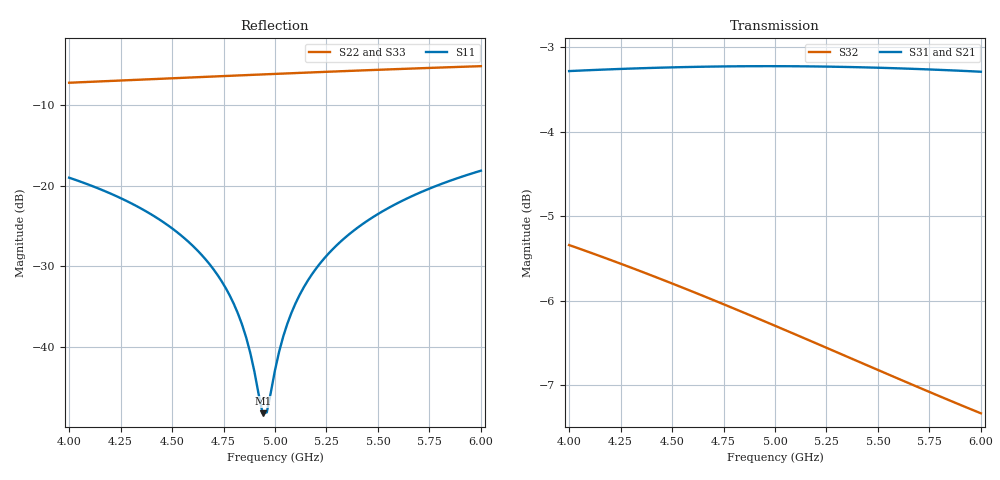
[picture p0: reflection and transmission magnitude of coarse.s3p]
! yapnr rf: divider-osh-m-star, binary design on the optimization grid
! spec sha256 5c8ff818df422873aa88d55bef2dedd6a6ce6afaf8815cf4395bdffaf75e430d
! renormalized to 50 ohm, e^(+jwt) convention
# GHz S RI R 50
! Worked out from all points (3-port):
!   101 points, 4 GHz to 6 GHz, reference 50 ohm
!   strongest paths, dB at 4 GHz, 4.5 GHz, 5 GHz, 5.5 GHz, 6 GHz:
!     S31: -3.3, -3.2, -3.2, -3.2, -3.3
!     S21: -3.3, -3.2, -3.2, -3.2, -3.3
!     S32: -5.3, -5.8, -6.3, -6.8, -7.3
!   lowest |S11| = -48.2 dB at 4.94 GHz (marker M1), VSWR 1.01, Z = 50.4 + j0.103 ohm
!   |S11| at or under -10 dB: start of sweep to end of sweep
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4  -0.0331 0.1068  -0.2275 -0.6465  -0.2275 -0.6465
   -0.2277 -0.6466  0.3186 0.2914  -0.4042 -0.359
   -0.2277 -0.6466  -0.4042 -0.359  0.3186 0.2914
4.4  -0.00835 0.0656  -0.3529 -0.5909  -0.3529 -0.5909
     -0.3531 -0.591  0.399 0.2171  -0.4555 -0.2481
     -0.3531 -0.591  -0.4555 -0.2481  0.399 0.2171
4.68  0.00131 0.0329  -0.4331 -0.5365  -0.4331 -0.5365
      -0.4332 -0.5366  0.4451 0.1527  -0.4733 -0.1693
      -0.4332 -0.5366  -0.4733 -0.1693  0.4451 0.1527
4.84  0.00359 0.0133  -0.4751 -0.5002  -0.4751 -0.5002
      -0.4753 -0.5002  0.4668 0.1121  -0.4774 -0.125
      -0.4753 -0.5002  -0.4774 -0.125  0.4668 0.1121
4.94  0.00377 0.00103  -0.4998 -0.4757  -0.4998 -0.4757
      -0.4999 -0.4757  0.4785 0.0854  -0.4778 -0.098
      -0.4999 -0.4757  -0.4778 -0.098  0.4785 0.0854
4.96  0.00369 -0.00144  -0.5046 -0.4706  -0.5046 -0.4706
      -0.5047 -0.4706  0.4806 0.08  -0.4776 -0.0926
      -0.5047 -0.4706  -0.4776 -0.0926  0.4806 0.08
5  0.00341 -0.00637  -0.5139 -0.4603  -0.5139 -0.4603
   -0.5141 -0.4604  0.4847 0.069  -0.4772 -0.082
   -0.5141 -0.4604  -0.4772 -0.082  0.4847 0.069
5.12  0.00162 -0.0211  -0.5407 -0.4283  -0.5407 -0.4283
      -0.5409 -0.4284  0.4955 0.0354  -0.4746 -0.0508
      -0.5409 -0.4284  -0.4746 -0.0508  0.4955 0.0354
5.3  -0.0037 -0.0426  -0.5769 -0.3774  -0.5769 -0.3774
     -0.5771 -0.3774  0.5071 -0.0168  -0.467 -0.00588
     -0.5771 -0.3774  -0.467 -0.00588  0.5071 -0.0168
6  -0.052 -0.112  -0.667 -0.1548  -0.667 -0.1548
   -0.6672 -0.1547  0.4976 -0.2263  -0.4057 0.1415
   -0.6672 -0.1547  -0.4057 0.1415  0.4976 -0.2263
